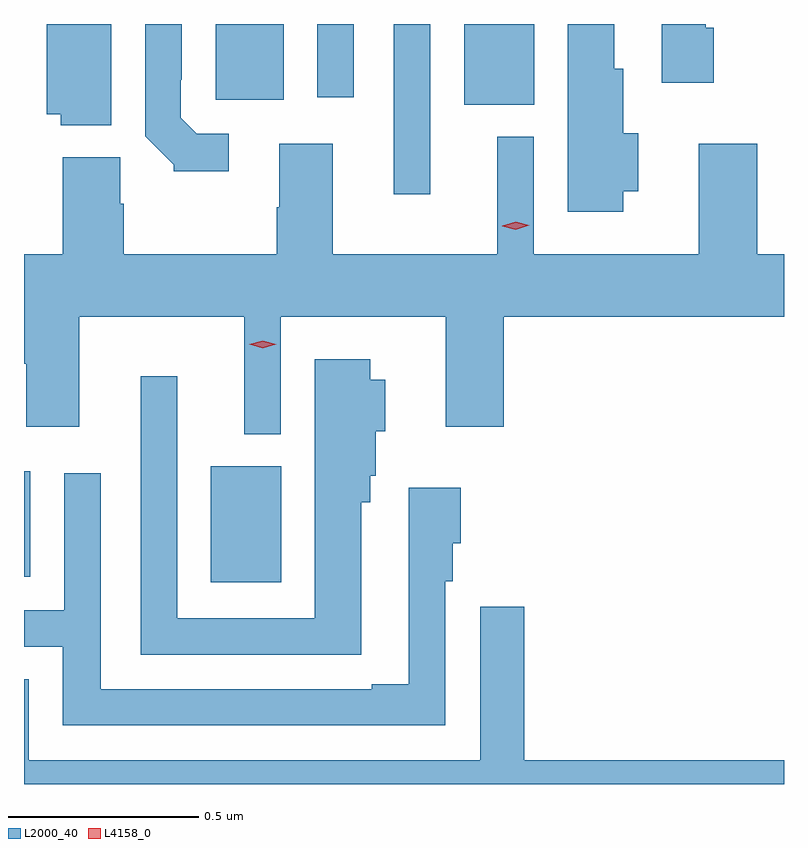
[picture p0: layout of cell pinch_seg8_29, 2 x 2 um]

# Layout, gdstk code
import gdstk
lib = gdstk.Library(unit=1e-6, precision=1e-09)
def R(c, l, rs):  # rectangles x0, y0, x1, y1
    for r in rs: c.add(gdstk.rectangle(r[:2], r[2:], *l))
def P(c, l, *ps):  # polygons
    for p in ps: c.add(gdstk.Polygon(p, *l))
L2000_40 = (2000, 40)
L4158_0 = (4158, 0)

pinch_seg8_29 = lib.new_cell('pinch_seg8_29')
R(pinch_seg8_29, L2000_40, [(893.249,1127.789,893.434,1128.094), (892.757,1127.804,892.774,1128.081), (893.73,1128.81,893.826,1129.258), (893.915,1129.046,894.1,1129.258), (893.261,1129.059,893.44,1129.258), (893.529,1129.065,893.625,1129.258)])
P(pinch_seg8_29, L2000_40, [(894.572,1129.248),(894.551,1129.248),(894.551,1129.258),(894.435,1129.258),(894.435,1129.104),(894.572,1129.104)],
  [(893.296,1128.969),(893.211,1128.969),(893.169,1129.011),(893.169,1129.111),(893.172,1129.111),(893.172,1129.258),(893.076,1129.258),(893.076,1128.963),(893.151,1128.888),(893.151,1128.871),(893.296,1128.871)],
  [(894.334,1128.818),(894.373,1128.818),(894.373,1128.971),(894.334,1128.971),(894.334,1129.14),(894.31,1129.14),(894.31,1129.258),(894.188,1129.258),(894.188,1128.764),(894.334,1128.764)],
  [(892.987,1129.258),(892.817,1129.258),(892.817,1129.02),(892.854,1129.02),(892.854,1128.992),(892.987,1128.992)],
  [(893.433,1128.488),(893.867,1128.488),(893.867,1128.198),(894.02,1128.198),(894.02,1128.488),(894.757,1128.488),(894.757,1128.652),(894.686,1128.652),(894.686,1128.943),(894.533,1128.943),(894.533,1128.652),(894.099,1128.652),(894.099,1128.961),(894.002,1128.961),(894.002,1128.652),(893.569,1128.652),(893.569,1128.943),(893.429,1128.943),(893.429,1128.776),(893.422,1128.776),(893.422,1128.652),(893.019,1128.652),(893.019,1128.785),(893.01,1128.785),(893.01,1128.907),(892.859,1128.907),(892.859,1128.652),(892.757,1128.652),(892.757,1128.364),(892.763,1128.364),(892.763,1128.198),(892.903,1128.198),(892.903,1128.488),(893.336,1128.488),(893.336,1128.179),(893.433,1128.179)],
  [(893.644,1128),(893.668,1128),(893.668,1128.069),(893.683,1128.069),(893.683,1128.186),(893.707,1128.186),(893.707,1128.322),(893.668,1128.322),(893.668,1128.376),(893.522,1128.376),(893.522,1127.694),(893.16,1127.694),(893.16,1128.331),(893.064,1128.331),(893.064,1127.598),(893.644,1127.598)],
  [(893.865,1127.792),(893.885,1127.792),(893.885,1127.892),(893.906,1127.892),(893.906,1128.037),(893.769,1128.037),(893.769,1127.521),(893.672,1127.521),(893.672,1127.508),(892.959,1127.508),(892.959,1128.076),(892.863,1128.076),(892.863,1127.715),(892.757,1127.715),(892.757,1127.619),(892.859,1127.619),(892.859,1127.412),(893.865,1127.412)],
  [(894.757,1127.32),(894.074,1127.32),(894.074,1127.725),(893.958,1127.725),(893.958,1127.32),(892.77,1127.32),(892.77,1127.534),(892.757,1127.534),(892.757,1127.258),(894.757,1127.258)])
P(pinch_seg8_29, L4158_0, [(894.051,1128.717),(894.016,1128.726),(894.016,1128.727),(894.016,1128.727),(894.051,1128.737),(894.087,1128.728),(894.087,1128.728),(894.087,1128.728)],
  [(893.385,1128.405),(893.35,1128.415),(893.35,1128.415),(893.35,1128.415),(893.385,1128.425),(893.421,1128.415),(893.421,1128.415),(893.421,1128.415)])

lib.write_gds('pinch_seg8_29.gds')
